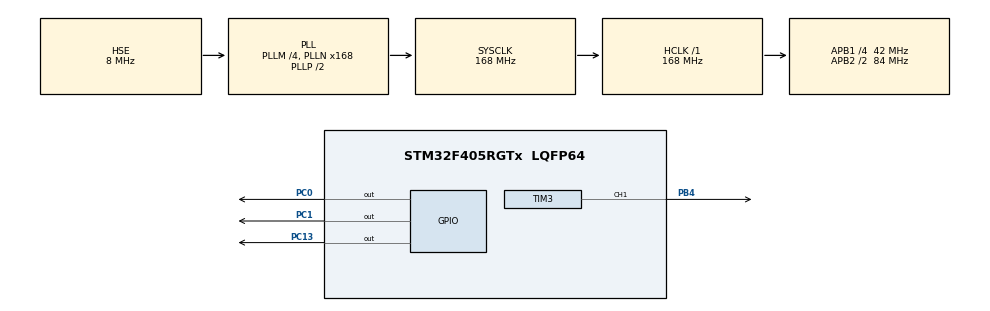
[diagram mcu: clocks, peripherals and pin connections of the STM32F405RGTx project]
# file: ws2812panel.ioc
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Dma.Request0=TIM3_CH1/TRIG
Dma.TIM3_CH1/TRIG.0.Direction=DMA_MEMORY_TO_PERIPH
Dma.TIM3_CH1/TRIG.0.FIFOMode=DMA_FIFOMODE_DISABLE
Dma.TIM3_CH1/TRIG.0.Instance=DMA1_Stream4
Dma.TIM3_CH1/TRIG.0.MemDataAlignment=DMA_MDATAALIGN_HALFWORD
Dma.TIM3_CH1/TRIG.0.MemInc=DMA_MINC_ENABLE
Dma.TIM3_CH1/TRIG.0.Mode=DMA_CIRCULAR
Dma.TIM3_CH1/TRIG.0.PeriphDataAlignment=DMA_PDATAALIGN_HALFWORD
Dma.TIM3_CH1/TRIG.0.PeriphInc=DMA_PINC_DISABLE
Dma.TIM3_CH1/TRIG.0.Priority=DMA_PRIORITY_LOW
Mcu.Family=STM32F4
Mcu.Name=STM32F405RGTx
Mcu.Package=LQFP64
Mcu.UserConstants=T3_CNT,104;T3_PRE,0;T4_PRE,8399;T4_CNT,99
NVIC.DMA1_Stream4_IRQn=true\:0\:0\:false\:false\:true\:false\:true
NVIC.PriorityGroup=NVIC_PRIORITYGROUP_4
NVIC.TIM4_IRQn=true\:1\:0\:true\:false\:true\:true\:true
PA13.Mode=Serial_Wire
PA13.Signal=SYS_JTMS-SWDIO
PA14.Mode=Serial_Wire
PA14.Signal=SYS_JTCK-SWCLK
PB4.GPIO_Speed=GPIO_SPEED_FREQ_VERY_HIGH
PB4.Signal=S_TIM3_CH1
PC0.Signal=GPIO_Output
PC1.Signal=GPIO_Output
PC13-ANTI_TAMP.PinState=GPIO_PIN_SET
PC13-ANTI_TAMP.Signal=GPIO_Output
PH0-OSC_IN.Mode=HSE-External-Oscillator
PH0-OSC_IN.Signal=RCC_OSC_IN
PH1-OSC_OUT.Mode=HSE-External-Oscillator
PH1-OSC_OUT.Signal=RCC_OSC_OUT
ProjectManager.HeapSize=0x200
ProjectManager.StackSize=0x400
ProjectManager.TargetToolchain=STM32CubeIDE
RCC.48MHZClocksFreq_Value=84000000
RCC.AHBFreq_Value=168000000
RCC.APB1CLKDivider=RCC_HCLK_DIV4
RCC.APB1Freq_Value=42000000
RCC.APB1TimFreq_Value=84000000
RCC.APB2CLKDivider=RCC_HCLK_DIV2
RCC.APB2Freq_Value=84000000
RCC.APB2TimFreq_Value=168000000
RCC.CortexFreq_Value=168000000
RCC.HCLKFreq_Value=168000000
RCC.HSE_VALUE=8000000
RCC.HSI_VALUE=16000000
RCC.LSE_VALUE=32768
RCC.PLLM=4
RCC.PLLN=168
RCC.PLLSourceVirtual=RCC_PLLSOURCE_HSE
RCC.SYSCLKFreq_VALUE=168000000
RCC.SYSCLKSource=RCC_SYSCLKSOURCE_PLLCLK
RCC.VCOOutputFreq_Value=336000000
SH.S_TIM3_CH1.0=TIM3_CH1,PWM Generation1 CH1
STMicroelectronics.X-CUBE-ALGOBUILD.1.1.0.LibraryCcDSPOoLibraryJjDSPOoLibrary=true
TIM3.AutoReloadPreload=TIM_AUTORELOAD_PRELOAD_ENABLE
TIM3.Channel-PWM\ Generation1\ CH1=TIM_CHANNEL_1
TIM3.OCFastMode_PWM-PWM\ Generation1\ CH1=TIM_OCFAST_ENABLE
TIM3.Period=T3_CNT
TIM3.Prescaler=T3_PRE
TIM3.TIM_MasterOutputTrigger=TIM_TRGO_UPDATE
TIM4.AutoReloadPreload=TIM_AUTORELOAD_PRELOAD_ENABLE
TIM4.Period=T4_CNT
TIM4.Prescaler=T4_PRE
TIM4.TIM_MasterOutputTrigger=TIM_TRGO_UPDATE
VP_STMicroelectronics.X-CUBE-ALGOBUILD_VS_DSPOoLibraryJjLibrary_1.1.0.Mode=DSPOoLibraryJjLibrary
VP_TIM3_VS_ClockSourceINT.Mode=Internal
VP_TIM4_VS_ClockSourceINT.Mode=Internal
board=custom

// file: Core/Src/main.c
/* USER CODE BEGIN Header */
/**
 ******************************************************************************
 * @file           : main.c
 * @brief          : Main program body
 ******************************************************************************
 * @attention
 *
 * <h2><center>&copy; Copyright (c) 2020 Lars Boegild THomsen <lbthomsen@gmail.com>.
 * All rights reserved.</center></h2>
 *
 * This software component is licensed by ST under BSD 3-Clause license,
 * the "License"; You may not use this file except in compliance with the
 * License. You may obtain a copy of the License at:
 *                        opensource.org/licenses/BSD-3-Clause
 *
 ******************************************************************************
 */
/* USER CODE END Header */
#include "main.h"

/* USER CODE BEGIN Includes */
#include <math.h>
#include <arm_math.h>

/* USER CODE END Includes */

/* USER CODE BEGIN PD */

// Configure the timer values
#define T3_PRE 0    // Timer 3 preload
#define T3_CNT 104  // Timer 3 counter - 104 result in 800 kHz PWM
#define T4_PRE 8399 // Timer 4 preload
#define T4_CNT 99   // Timer 4 counter - result in 100 interrupts per second

#define M_PI2 2 * M_PI   // Full circle
#define SAMPLE_FREQ 100  // Frequency of Timer 4

// Buffer allocated will be twice this
#define BUFFER_SIZE 24

// LED on/off counts.  PWM timer is running 104 counts.
//#define LED_PERIOD T3_CNT + 1
#define LED_OFF 33
#define LED_ON 71
#define LED_RESET_CYCLES 10

// Define LED driver state machine states
#define LED_RES 0
#define LED_DAT 1

#define LED_ROWS 8
#define LED_COLS 8
#define G 0
#define R 1
#define B 2

/* USER CODE END PD */

TIM_HandleTypeDef htim3;
TIM_HandleTypeDef htim4;
DMA_HandleTypeDef hdma_tim3_ch1_trig;

/* USER CODE BEGIN PV */

// Bunch of zeros used to latch the ws2812
//const uint16_t zeros[24] = {0}; // Used to trigger latching

// Look up table for led color bit patterns.  "Waste" 4k of flash but is a
// lot faster (not measured accurately but I'd say about double).
const uint16_t color_value[256][8] = {
		{LED_OFF, LED_OFF, LED_OFF, LED_OFF, LED_OFF, LED_OFF, LED_OFF, LED_OFF},
		{LED_OFF, LED_OFF, LED_OFF, LED_OFF, LED_OFF, LED_OFF, LED_OFF, LED_ON},
		{LED_OFF, LED_OFF, LED_OFF, LED_OFF, LED_OFF, LED_OFF, LED_ON, LED_OFF},
		{LED_OFF, LED_OFF, LED_OFF, LED_OFF, LED_OFF, LED_OFF, LED_ON, LED_ON},
		{LED_OFF, LED_OFF, LED_OFF, LED_OFF, LED_OFF, LED_ON, LED_OFF, LED_OFF},
		{LED_OFF, LED_OFF, LED_OFF, LED_OFF, LED_OFF, LED_ON, LED_OFF, LED_ON},
		{LED_OFF, LED_OFF, LED_OFF, LED_OFF, LED_OFF, LED_ON, LED_ON, LED_OFF},
		{LED_OFF, LED_OFF, LED_OFF, LED_OFF, LED_OFF, LED_ON, LED_ON, LED_ON},
		{LED_OFF, LED_OFF, LED_OFF, LED_OFF, LED_ON, LED_OFF, LED_OFF, LED_OFF},
		{LED_OFF, LED_OFF, LED_OFF, LED_OFF, LED_ON, LED_OFF, LED_OFF, LED_ON},
		{LED_OFF, LED_OFF, LED_OFF, LED_OFF, LED_ON, LED_OFF, LED_ON, LED_OFF},
		{LED_OFF, LED_OFF, LED_OFF, LED_OFF, LED_ON, LED_OFF, LED_ON, LED_ON},
		{LED_OFF, LED_OFF, LED_OFF, LED_OFF, LED_ON, LED_ON, LED_OFF, LED_OFF},
		{LED_OFF, LED_OFF, LED_OFF, LED_OFF, LED_ON, LED_ON, LED_OFF, LED_ON},
		{LED_OFF, LED_OFF, LED_OFF, LED_OFF, LED_ON, LED_ON, LED_ON, LED_OFF},
		{LED_OFF, LED_OFF, LED_OFF, LED_OFF, LED_ON, LED_ON, LED_ON, LED_ON},
		{LED_OFF, LED_OFF, LED_OFF, LED_ON, LED_OFF, LED_OFF, LED_OFF, LED_OFF},
		{LED_OFF, LED_OFF, LED_OFF, LED_ON, LED_OFF, LED_OFF, LED_OFF, LED_ON},
		{LED_OFF, LED_OFF, LED_OFF, LED_ON, LED_OFF, LED_OFF, LED_ON, LED_OFF},
		{LED_OFF, LED_OFF, LED_OFF, LED_ON, LED_OFF, LED_OFF, LED_ON, LED_ON},
		{LED_OFF, LED_OFF, LED_OFF, LED_ON, LED_OFF, LED_ON, LED_OFF, LED_OFF},
		{LED_OFF, LED_OFF, LED_OFF, LED_ON, LED_OFF, LED_ON, LED_OFF, LED_ON},
		{LED_OFF, LED_OFF, LED_OFF, LED_ON, LED_OFF, LED_ON, LED_ON, LED_OFF},
		{LED_OFF, LED_OFF, LED_OFF, LED_ON, LED_OFF, LED_ON, LED_ON, LED_ON},
		{LED_OFF, LED_OFF, LED_OFF, LED_ON, LED_ON, LED_OFF, LED_OFF, LED_OFF},
		{LED_OFF, LED_OFF, LED_OFF, LED_ON, LED_ON, LED_OFF, LED_OFF, LED_ON},
		{LED_OFF, LED_OFF, LED_OFF, LED_ON, LED_ON, LED_OFF, LED_ON, LED_OFF},
		{LED_OFF, LED_OFF, LED_OFF, LED_ON, LED_ON, LED_OFF, LED_ON, LED_ON},
		{LED_OFF, LED_OFF, LED_OFF, LED_ON, LED_ON, LED_ON, LED_OFF, LED_OFF},
		{LED_OFF, LED_OFF, LED_OFF, LED_ON, LED_ON, LED_ON, LED_OFF, LED_ON},
		{LED_OFF, LED_OFF, LED_OFF, LED_ON, LED_ON, LED_ON, LED_ON, LED_OFF},
		{LED_OFF, LED_OFF, LED_OFF, LED_ON, LED_ON, LED_ON, LED_ON, LED_ON},
		{LED_OFF, LED_OFF, LED_ON, LED_OFF, LED_OFF, LED_OFF, LED_OFF, LED_OFF},
		{LED_OFF, LED_OFF, LED_ON, LED_OFF, LED_OFF, LED_OFF, LED_OFF, LED_ON},
		{LED_OFF, LED_OFF, LED_ON, LED_OFF, LED_OFF, LED_OFF, LED_ON, LED_OFF},
		{LED_OFF, LED_OFF, LED_ON, LED_OFF, LED_OFF, LED_OFF, LED_ON, LED_ON},
		{LED_OFF, LED_OFF, LED_ON, LED_OFF, LED_OFF, LED_ON, LED_OFF, LED_OFF},
		{LED_OFF, LED_OFF, LED_ON, LED_OFF, LED_OFF, LED_ON, LED_OFF, LED_ON},
		{LED_OFF, LED_OFF, LED_ON, LED_OFF, LED_OFF, LED_ON, LED_ON, LED_OFF},
		{LED_OFF, LED_OFF, LED_ON, LED_OFF, LED_OFF, LED_ON, LED_ON, LED_ON},
		{LED_OFF, LED_OFF, LED_ON, LED_OFF, LED_ON, LED_OFF, LED_OFF, LED_OFF},
		{LED_OFF, LED_OFF, LED_ON, LED_OFF, LED_ON, LED_OFF, LED_OFF, LED_ON},
		{LED_OFF, LED_OFF, LED_ON, LED_OFF, LED_ON, LED_OFF, LED_ON, LED_OFF},
		{LED_OFF, LED_OFF, LED_ON, LED_OFF, LED_ON, LED_OFF, LED_ON, LED_ON},
		{LED_OFF, LED_OFF, LED_ON, LED_OFF, LED_ON, LED_ON, LED_OFF, LED_OFF},
		{LED_OFF, LED_OFF, LED_ON, LED_OFF, LED_ON, LED_ON, LED_OFF, LED_ON},
		{LED_OFF, LED_OFF, LED_ON, LED_OFF, LED_ON, LED_ON, LED_ON, LED_OFF},
		{LED_OFF, LED_OFF, LED_ON, LED_OFF, LED_ON, LED_ON, LED_ON, LED_ON},
		{LED_OFF, LED_OFF, LED_ON, LED_ON, LED_OFF, LED_OFF, LED_OFF, LED_OFF},
		{LED_OFF, LED_OFF, LED_ON, LED_ON, LED_OFF, LED_OFF, LED_OFF, LED_ON},
		{LED_OFF, LED_OFF, LED_ON, LED_ON, LED_OFF, LED_OFF, LED_ON, LED_OFF},
		{LED_OFF, LED_OFF, LED_ON, LED_ON, LED_OFF, LED_OFF, LED_ON, LED_ON},
		{LED_OFF, LED_OFF, LED_ON, LED_ON, LED_OFF, LED_ON, LED_OFF, LED_OFF},
		{LED_OFF, LED_OFF, LED_ON, LED_ON, LED_OFF, LED_ON, LED_OFF, LED_ON},
		{LED_OFF, LED_OFF, LED_ON, LED_ON, LED_OFF, LED_ON, LED_ON, LED_OFF},
		{LED_OFF, LED_OFF, LED_ON, LED_ON, LED_OFF, LED_ON, LED_ON, LED_ON},
		{LED_OFF, LED_OFF, LED_ON, LED_ON, LED_ON, LED_OFF, LED_OFF, LED_OFF},
		{LED_OFF, LED_OFF, LED_ON, LED_ON, LED_ON, LED_OFF, LED_OFF, LED_ON},
		{LED_OFF, LED_OFF, LED_ON, LED_ON, LED_ON, LED_OFF, LED_ON, LED_OFF},
		{LED_OFF, LED_OFF, LED_ON, LED_ON, LED_ON, LED_OFF, LED_ON, LED_ON},
		{LED_OFF, LED_OFF, LED_ON, LED_ON, LED_ON, LED_ON, LED_OFF, LED_OFF},
		{LED_OFF, LED_OFF, LED_ON, LED_ON, LED_ON, LED_ON, LED_OFF, LED_ON},
		{LED_OFF, LED_OFF, LED_ON, LED_ON, LED_ON, LED_ON, LED_ON, LED_OFF},
		{LED_OFF, LED_OFF, LED_ON, LED_ON, LED_ON, LED_ON, LED_ON, LED_ON},
		{LED_OFF, LED_ON, LED_OFF, LED_OFF, LED_OFF, LED_OFF, LED_OFF, LED_OFF},
		{LED_OFF, LED_ON, LED_OFF, LED_OFF, LED_OFF, LED_OFF, LED_OFF, LED_ON},
		{LED_OFF, LED_ON, LED_OFF, LED_OFF, LED_OFF, LED_OFF, LED_ON, LED_OFF},
		{LED_OFF, LED_ON, LED_OFF, LED_OFF, LED_OFF, LED_OFF, LED_ON, LED_ON},
		{LED_OFF, LED_ON, LED_OFF, LED_OFF, LED_OFF, LED_ON, LED_OFF, LED_OFF},
		{LED_OFF, LED_ON, LED_OFF, LED_OFF, LED_OFF, LED_ON, LED_OFF, LED_ON},
		{LED_OFF, LED_ON, LED_OFF, LED_OFF, LED_OFF, LED_ON, LED_ON, LED_OFF},
		{LED_OFF, LED_ON, LED_OFF, LED_OFF, LED_OFF, LED_ON, LED_ON, LED_ON},
		{LED_OFF, LED_ON, LED_OFF, LED_OFF, LED_ON, LED_OFF, LED_OFF, LED_OFF},
		{LED_OFF, LED_ON, LED_OFF, LED_OFF, LED_ON, LED_OFF, LED_OFF, LED_ON},
		{LED_OFF, LED_ON, LED_OFF, LED_OFF, LED_ON, LED_OFF, LED_ON, LED_OFF},
		{LED_OFF, LED_ON, LED_OFF, LED_OFF, LED_ON, LED_OFF, LED_ON, LED_ON},
		{LED_OFF, LED_ON, LED_OFF, LED_OFF, LED_ON, LED_ON, LED_OFF, LED_OFF},
		{LED_OFF, LED_ON, LED_OFF, LED_OFF, LED_ON, LED_ON, LED_OFF, LED_ON},
		{LED_OFF, LED_ON, LED_OFF, LED_OFF, LED_ON, LED_ON, LED_ON, LED_OFF},
		{LED_OFF, LED_ON, LED_OFF, LED_OFF, LED_ON, LED_ON, LED_ON, LED_ON},
		{LED_OFF, LED_ON, LED_OFF, LED_ON, LED_OFF, LED_OFF, LED_OFF, LED_OFF},
		{LED_OFF, LED_ON, LED_OFF, LED_ON, LED_OFF, LED_OFF, LED_OFF, LED_ON},
		{LED_OFF, LED_ON, LED_OFF, LED_ON, LED_OFF, LED_OFF, LED_ON, LED_OFF},
		{LED_OFF, LED_ON, LED_OFF, LED_ON, LED_OFF, LED_OFF, LED_ON, LED_ON},
		{LED_OFF, LED_ON, LED_OFF, LED_ON, LED_OFF, LED_ON, LED_OFF, LED_OFF},
		{LED_OFF, LED_ON, LED_OFF, LED_ON, LED_OFF, LED_ON, LED_OFF, LED_ON},
		{LED_OFF, LED_ON, LED_OFF, LED_ON, LED_OFF, LED_ON, LED_ON, LED_OFF},
		{LED_OFF, LED_ON, LED_OFF, LED_ON, LED_OFF, LED_ON, LED_ON, LED_ON},
		{LED_OFF, LED_ON, LED_OFF, LED_ON, LED_ON, LED_OFF, LED_OFF, LED_OFF},
		{LED_OFF, LED_ON, LED_OFF, LED_ON, LED_ON, LED_OFF, LED_OFF, LED_ON},
		{LED_OFF, LED_ON, LED_OFF, LED_ON, LED_ON, LED_OFF, LED_ON, LED_OFF},
		{LED_OFF, LED_ON, LED_OFF, LED_ON, LED_ON, LED_OFF, LED_ON, LED_ON},
		{LED_OFF, LED_ON, LED_OFF, LED_ON, LED_ON, LED_ON, LED_OFF, LED_OFF},
		{LED_OFF, LED_ON, LED_OFF, LED_ON, LED_ON, LED_ON, LED_OFF, LED_ON},
		{LED_OFF, LED_ON, LED_OFF, LED_ON, LED_ON, LED_ON, LED_ON, LED_OFF},
		{LED_OFF, LED_ON, LED_OFF, LED_ON, LED_ON, LED_ON, LED_ON, LED_ON},
		{LED_OFF, LED_ON, LED_ON, LED_OFF, LED_OFF, LED_OFF, LED_OFF, LED_OFF},
		{LED_OFF, LED_ON, LED_ON, LED_OFF, LED_OFF, LED_OFF, LED_OFF, LED_ON},
		{LED_OFF, LED_ON, LED_ON, LED_OFF, LED_OFF, LED_OFF, LED_ON, LED_OFF},
		{LED_OFF, LED_ON, LED_ON, LED_OFF, LED_OFF, LED_OFF, LED_ON, LED_ON},
		{LED_OFF, LED_ON, LED_ON, LED_OFF, LED_OFF, LED_ON, LED_OFF, LED_OFF},
		{LED_OFF, LED_ON, LED_ON, LED_OFF, LED_OFF, LED_ON, LED_OFF, LED_ON},
		{LED_OFF, LED_ON, LED_ON, LED_OFF, LED_OFF, LED_ON, LED_ON, LED_OFF},
		{LED_OFF, LED_ON, LED_ON, LED_OFF, LED_OFF, LED_ON, LED_ON, LED_ON},
		{LED_OFF, LED_ON, LED_ON, LED_OFF, LED_ON, LED_OFF, LED_OFF, LED_OFF},
		{LED_OFF, LED_ON, LED_ON, LED_OFF, LED_ON, LED_OFF, LED_OFF, LED_ON},
		{LED_OFF, LED_ON, LED_ON, LED_OFF, LED_ON, LED_OFF, LED_ON, LED_OFF},
		{LED_OFF, LED_ON, LED_ON, LED_OFF, LED_ON, LED_OFF, LED_ON, LED_ON},
		{LED_OFF, LED_ON, LED_ON, LED_OFF, LED_ON, LED_ON, LED_OFF, LED_OFF},
		{LED_OFF, LED_ON, LED_ON, LED_OFF, LED_ON, LED_ON, LED_OFF, LED_ON},
		{LED_OFF, LED_ON, LED_ON, LED_OFF, LED_ON, LED_ON, LED_ON, LED_OFF},
		{LED_OFF, LED_ON, LED_ON, LED_OFF, LED_ON, LED_ON, LED_ON, LED_ON},
		{LED_OFF, LED_ON, LED_ON, LED_ON, LED_OFF, LED_OFF, LED_OFF, LED_OFF},
		{LED_OFF, LED_ON, LED_ON, LED_ON, LED_OFF, LED_OFF, LED_OFF, LED_ON},
		{LED_OFF, LED_ON, LED_ON, LED_ON, LED_OFF, LED_OFF, LED_ON, LED_OFF},
		{LED_OFF, LED_ON, LED_ON, LED_ON, LED_OFF, LED_OFF, LED_ON, LED_ON},
		{LED_OFF, LED_ON, LED_ON, LED_ON, LED_OFF, LED_ON, LED_OFF, LED_OFF},
		{LED_OFF, LED_ON, LED_ON, LED_ON, LED_OFF, LED_ON, LED_OFF, LED_ON},
		{LED_OFF, LED_ON, LED_ON, LED_ON, LED_OFF, LED_ON, LED_ON, LED_OFF},
		{LED_OFF, LED_ON, LED_ON, LED_ON, LED_OFF, LED_ON, LED_ON, LED_ON},
		{LED_OFF, LED_ON, LED_ON, LED_ON, LED_ON, LED_OFF, LED_OFF, LED_OFF},
		{LED_OFF, LED_ON, LED_ON, LED_ON, LED_ON, LED_OFF, LED_OFF, LED_ON},
		{LED_OFF, LED_ON, LED_ON, LED_ON, LED_ON, LED_OFF, LED_ON, LED_OFF},
		{LED_OFF, LED_ON, LED_ON, LED_ON, LED_ON, LED_OFF, LED_ON, LED_ON},
		{LED_OFF, LED_ON, LED_ON, LED_ON, LED_ON, LED_ON, LED_OFF, LED_OFF},
		{LED_OFF, LED_ON, LED_ON, LED_ON, LED_ON, LED_ON, LED_OFF, LED_ON},
		{LED_OFF, LED_ON, LED_ON, LED_ON, LED_ON, LED_ON, LED_ON, LED_OFF},
		{LED_OFF, LED_ON, LED_ON, LED_ON, LED_ON, LED_ON, LED_ON, LED_ON},
		{LED_ON, LED_OFF, LED_OFF, LED_OFF, LED_OFF, LED_OFF, LED_OFF, LED_OFF},
		{LED_ON, LED_OFF, LED_OFF, LED_OFF, LED_OFF, LED_OFF, LED_OFF, LED_ON},
		{LED_ON, LED_OFF, LED_OFF, LED_OFF, LED_OFF, LED_OFF, LED_ON, LED_OFF},
		{LED_ON, LED_OFF, LED_OFF, LED_OFF, LED_OFF, LED_OFF, LED_ON, LED_ON},
		{LED_ON, LED_OFF, LED_OFF, LED_OFF, LED_OFF, LED_ON, LED_OFF, LED_OFF},
		{LED_ON, LED_OFF, LED_OFF, LED_OFF, LED_OFF, LED_ON, LED_OFF, LED_ON},
		{LED_ON, LED_OFF, LED_OFF, LED_OFF, LED_OFF, LED_ON, LED_ON, LED_OFF},
		{LED_ON, LED_OFF, LED_OFF, LED_OFF, LED_OFF, LED_ON, LED_ON, LED_ON},
		{LED_ON, LED_OFF, LED_OFF, LED_OFF, LED_ON, LED_OFF, LED_OFF, LED_OFF},
		{LED_ON, LED_OFF, LED_OFF, LED_OFF, LED_ON, LED_OFF, LED_OFF, LED_ON},
		{LED_ON, LED_OFF, LED_OFF, LED_OFF, LED_ON, LED_OFF, LED_ON, LED_OFF},
		{LED_ON, LED_OFF, LED_OFF, LED_OFF, LED_ON, LED_OFF, LED_ON, LED_ON},
		{LED_ON, LED_OFF, LED_OFF, LED_OFF, LED_ON, LED_ON, LED_OFF, LED_OFF},
		{LED_ON, LED_OFF, LED_OFF, LED_OFF, LED_ON, LED_ON, LED_OFF, LED_ON},
		{LED_ON, LED_OFF, LED_OFF, LED_OFF, LED_ON, LED_ON, LED_ON, LED_OFF},
		{LED_ON, LED_OFF, LED_OFF, LED_OFF, LED_ON, LED_ON, LED_ON, LED_ON},
		{LED_ON, LED_OFF, LED_OFF, LED_ON, LED_OFF, LED_OFF, LED_OFF, LED_OFF},
		{LED_ON, LED_OFF, LED_OFF, LED_ON, LED_OFF, LED_OFF, LED_OFF, LED_ON},
		{LED_ON, LED_OFF, LED_OFF, LED_ON, LED_OFF, LED_OFF, LED_ON, LED_OFF},
		{LED_ON, LED_OFF, LED_OFF, LED_ON, LED_OFF, LED_OFF, LED_ON, LED_ON},
		{LED_ON, LED_OFF, LED_OFF, LED_ON, LED_OFF, LED_ON, LED_OFF, LED_OFF},
		{LED_ON, LED_OFF, LED_OFF, LED_ON, LED_OFF, LED_ON, LED_OFF, LED_ON},
		{LED_ON, LED_OFF, LED_OFF, LED_ON, LED_OFF, LED_ON, LED_ON, LED_OFF},
		{LED_ON, LED_OFF, LED_OFF, LED_ON, LED_OFF, LED_ON, LED_ON, LED_ON},
		{LED_ON, LED_OFF, LED_OFF, LED_ON, LED_ON, LED_OFF, LED_OFF, LED_OFF},
		{LED_ON, LED_OFF, LED_OFF, LED_ON, LED_ON, LED_OFF, LED_OFF, LED_ON},
		{LED_ON, LED_OFF, LED_OFF, LED_ON, LED_ON, LED_OFF, LED_ON, LED_OFF},
		{LED_ON, LED_OFF, LED_OFF, LED_ON, LED_ON, LED_OFF, LED_ON, LED_ON},
		{LED_ON, LED_OFF, LED_OFF, LED_ON, LED_ON, LED_ON, LED_OFF, LED_OFF},
		{LED_ON, LED_OFF, LED_OFF, LED_ON, LED_ON, LED_ON, LED_OFF, LED_ON},
		{LED_ON, LED_OFF, LED_OFF, LED_ON, LED_ON, LED_ON, LED_ON, LED_OFF},
		{LED_ON, LED_OFF, LED_OFF, LED_ON, LED_ON, LED_ON, LED_ON, LED_ON},
		{LED_ON, LED_OFF, LED_ON, LED_OFF, LED_OFF, LED_OFF, LED_OFF, LED_OFF},
		{LED_ON, LED_OFF, LED_ON, LED_OFF, LED_OFF, LED_OFF, LED_OFF, LED_ON},
		{LED_ON, LED_OFF, LED_ON, LED_OFF, LED_OFF, LED_OFF, LED_ON, LED_OFF},
		{LED_ON, LED_OFF, LED_ON, LED_OFF, LED_OFF, LED_OFF, LED_ON, LED_ON},
		{LED_ON, LED_OFF, LED_ON, LED_OFF, LED_OFF, LED_ON, LED_OFF, LED_OFF},
		{LED_ON, LED_OFF, LED_ON, LED_OFF, LED_OFF, LED_ON, LED_OFF, LED_ON},
		{LED_ON, LED_OFF, LED_ON, LED_OFF, LED_OFF, LED_ON, LED_ON, LED_OFF},
		{LED_ON, LED_OFF, LED_ON, LED_OFF, LED_OFF, LED_ON, LED_ON, LED_ON},
		{LED_ON, LED_OFF, LED_ON, LED_OFF, LED_ON, LED_OFF, LED_OFF, LED_OFF},
		{LED_ON, LED_OFF, LED_ON, LED_OFF, LED_ON, LED_OFF, LED_OFF, LED_ON},
		{LED_ON, LED_OFF, LED_ON, LED_OFF, LED_ON, LED_OFF, LED_ON, LED_OFF},
		{LED_ON, LED_OFF, LED_ON, LED_OFF, LED_ON, LED_OFF, LED_ON, LED_ON},
		{LED_ON, LED_OFF, LED_ON, LED_OFF, LED_ON, LED_ON, LED_OFF, LED_OFF},
		{LED_ON, LED_OFF, LED_ON, LED_OFF, LED_ON, LED_ON, LED_OFF, LED_ON},
		{LED_ON, LED_OFF, LED_ON, LED_OFF, LED_ON, LED_ON, LED_ON, LED_OFF},
		{LED_ON, LED_OFF, LED_ON, LED_OFF, LED_ON, LED_ON, LED_ON, LED_ON},
		{LED_ON, LED_OFF, LED_ON, LED_ON, LED_OFF, LED_OFF, LED_OFF, LED_OFF},
		{LED_ON, LED_OFF, LED_ON, LED_ON, LED_OFF, LED_OFF, LED_OFF, LED_ON},
		{LED_ON, LED_OFF, LED_ON, LED_ON, LED_OFF, LED_OFF, LED_ON, LED_OFF},
		{LED_ON, LED_OFF, LED_ON, LED_ON, LED_OFF, LED_OFF, LED_ON, LED_ON},
		{LED_ON, LED_OFF, LED_ON, LED_ON, LED_OFF, LED_ON, LED_OFF, LED_OFF},
		{LED_ON, LED_OFF, LED_ON, LED_ON, LED_OFF, LED_ON, LED_OFF, LED_ON},
		{LED_ON, LED_OFF, LED_ON, LED_ON, LED_OFF, LED_ON, LED_ON, LED_OFF},
		{LED_ON, LED_OFF, LED_ON, LED_ON, LED_OFF, LED_ON, LED_ON, LED_ON},
		{LED_ON, LED_OFF, LED_ON, LED_ON, LED_ON, LED_OFF, LED_OFF, LED_OFF},
		{LED_ON, LED_OFF, LED_ON, LED_ON, LED_ON, LED_OFF, LED_OFF, LED_ON},
		{LED_ON, LED_OFF, LED_ON, LED_ON, LED_ON, LED_OFF, LED_ON, LED_OFF},
		{LED_ON, LED_OFF, LED_ON, LED_ON, LED_ON, LED_OFF, LED_ON, LED_ON},
		{LED_ON, LED_OFF, LED_ON, LED_ON, LED_ON, LED_ON, LED_OFF, LED_OFF},
		{LED_ON, LED_OFF, LED_ON, LED_ON, LED_ON, LED_ON, LED_OFF, LED_ON},
		{LED_ON, LED_OFF, LED_ON, LED_ON, LED_ON, LED_ON, LED_ON, LED_OFF},
		{LED_ON, LED_OFF, LED_ON, LED_ON, LED_ON, LED_ON, LED_ON, LED_ON},
		{LED_ON, LED_ON, LED_OFF, LED_OFF, LED_OFF, LED_OFF, LED_OFF, LED_OFF},
		{LED_ON, LED_ON, LED_OFF, LED_OFF, LED_OFF, LED_OFF, LED_OFF, LED_ON},
		{LED_ON, LED_ON, LED_OFF, LED_OFF, LED_OFF, LED_OFF, LED_ON, LED_OFF},
		{LED_ON, LED_ON, LED_OFF, LED_OFF, LED_OFF, LED_OFF, LED_ON, LED_ON},
		{LED_ON, LED_ON, LED_OFF, LED_OFF, LED_OFF, LED_ON, LED_OFF, LED_OFF},
		{LED_ON, LED_ON, LED_OFF, LED_OFF, LED_OFF, LED_ON, LED_OFF, LED_ON},
		{LED_ON, LED_ON, LED_OFF, LED_OFF, LED_OFF, LED_ON, LED_ON, LED_OFF},
		{LED_ON, LED_ON, LED_OFF, LED_OFF, LED_OFF, LED_ON, LED_ON, LED_ON},
		{LED_ON, LED_ON, LED_OFF, LED_OFF, LED_ON, LED_OFF, LED_OFF, LED_OFF},
		{LED_ON, LED_ON, LED_OFF, LED_OFF, LED_ON, LED_OFF, LED_OFF, LED_ON},
		{LED_ON, LED_ON, LED_OFF, LED_OFF, LED_ON, LED_OFF, LED_ON, LED_OFF},
		{LED_ON, LED_ON, LED_OFF, LED_OFF, LED_ON, LED_OFF, LED_ON, LED_ON},
		{LED_ON, LED_ON, LED_OFF, LED_OFF, LED_ON, LED_ON, LED_OFF, LED_OFF},
		{LED_ON, LED_ON, LED_OFF, LED_OFF, LED_ON, LED_ON, LED_OFF, LED_ON},
		{LED_ON, LED_ON, LED_OFF, LED_OFF, LED_ON, LED_ON, LED_ON, LED_OFF},
		{LED_ON, LED_ON, LED_OFF, LED_OFF, LED_ON, LED_ON, LED_ON, LED_ON},
		{LED_ON, LED_ON, LED_OFF, LED_ON, LED_OFF, LED_OFF, LED_OFF, LED_OFF},
		{LED_ON, LED_ON, LED_OFF, LED_ON, LED_OFF, LED_OFF, LED_OFF, LED_ON},
		{LED_ON, LED_ON, LED_OFF, LED_ON, LED_OFF, LED_OFF, LED_ON, LED_OFF},
		{LED_ON, LED_ON, LED_OFF, LED_ON, LED_OFF, LED_OFF, LED_ON, LED_ON},
		{LED_ON, LED_ON, LED_OFF, LED_ON, LED_OFF, LED_ON, LED_OFF, LED_OFF},
		{LED_ON, LED_ON, LED_OFF, LED_ON, LED_OFF, LED_ON, LED_OFF, LED_ON},
		{LED_ON, LED_ON, LED_OFF, LED_ON, LED_OFF, LED_ON, LED_ON, LED_OFF},
		{LED_ON, LED_ON, LED_OFF, LED_ON, LED_OFF, LED_ON, LED_ON, LED_ON},
		{LED_ON, LED_ON, LED_OFF, LED_ON, LED_ON, LED_OFF, LED_OFF, LED_OFF},
		{LED_ON, LED_ON, LED_OFF, LED_ON, LED_ON, LED_OFF, LED_OFF, LED_ON},
		{LED_ON, LED_ON, LED_OFF, LED_ON, LED_ON, LED_OFF, LED_ON, LED_OFF},
		{LED_ON, LED_ON, LED_OFF, LED_ON, LED_ON, LED_OFF, LED_ON, LED_ON},
		{LED_ON, LED_ON, LED_OFF, LED_ON, LED_ON, LED_ON, LED_OFF, LED_OFF},
		{LED_ON, LED_ON, LED_OFF, LED_ON, LED_ON, LED_ON, LED_OFF, LED_ON},
		{LED_ON, LED_ON, LED_OFF, LED_ON, LED_ON, LED_ON, LED_ON, LED_OFF},
		{LED_ON, LED_ON, LED_OFF, LED_ON, LED_ON, LED_ON, LED_ON, LED_ON},
		{LED_ON, LED_ON, LED_ON, LED_OFF, LED_OFF, LED_OFF, LED_OFF, LED_OFF},
		{LED_ON, LED_ON, LED_ON, LED_OFF, LED_OFF, LED_OFF, LED_OFF, LED_ON},
		{LED_ON, LED_ON, LED_ON, LED_OFF, LED_OFF, LED_OFF, LED_ON, LED_OFF},
		{LED_ON, LED_ON, LED_ON, LED_OFF, LED_OFF, LED_OFF, LED_ON, LED_ON},
		{LED_ON, LED_ON, LED_ON, LED_OFF, LED_OFF, LED_ON, LED_OFF, LED_OFF},
		{LED_ON, LED_ON, LED_ON, LED_OFF, LED_OFF, LED_ON, LED_OFF, LED_ON},
		{LED_ON, LED_ON, LED_ON, LED_OFF, LED_OFF, LED_ON, LED_ON, LED_OFF},
		{LED_ON, LED_ON, LED_ON, LED_OFF, LED_OFF, LED_ON, LED_ON, LED_ON},
		{LED_ON, LED_ON, LED_ON, LED_OFF, LED_ON, LED_OFF, LED_OFF, LED_OFF},
		{LED_ON, LED_ON, LED_ON, LED_OFF, LED_ON, LED_OFF, LED_OFF, LED_ON},
		{LED_ON, LED_ON, LED_ON, LED_OFF, LED_ON, LED_OFF, LED_ON, LED_OFF},
		{LED_ON, LED_ON, LED_ON, LED_OFF, LED_ON, LED_OFF, LED_ON, LED_ON},
		{LED_ON, LED_ON, LED_ON, LED_OFF, LED_ON, LED_ON, LED_OFF, LED_OFF},
		{LED_ON, LED_ON, LED_ON, LED_OFF, LED_ON, LED_ON, LED_OFF, LED_ON},
		{LED_ON, LED_ON, LED_ON, LED_OFF, LED_ON, LED_ON, LED_ON, LED_OFF},
		{LED_ON, LED_ON, LED_ON, LED_OFF, LED_ON, LED_ON, LED_ON, LED_ON},
		{LED_ON, LED_ON, LED_ON, LED_ON, LED_OFF, LED_OFF, LED_OFF, LED_OFF},
		{LED_ON, LED_ON, LED_ON, LED_ON, LED_OFF, LED_OFF, LED_OFF, LED_ON},
		{LED_ON, LED_ON, LED_ON, LED_ON, LED_OFF, LED_OFF, LED_ON, LED_OFF},
		{LED_ON, LED_ON, LED_ON, LED_ON, LED_OFF, LED_OFF, LED_ON, LED_ON},
		{LED_ON, LED_ON, LED_ON, LED_ON, LED_OFF, LED_ON, LED_OFF, LED_OFF},
		{LED_ON, LED_ON, LED_ON, LED_ON, LED_OFF, LED_ON, LED_OFF, LED_ON},
		{LED_ON, LED_ON, LED_ON, LED_ON, LED_OFF, LED_ON, LED_ON, LED_OFF},
		{LED_ON, LED_ON, LED_ON, LED_ON, LED_OFF, LED_ON, LED_ON, LED_ON},
		{LED_ON, LED_ON, LED_ON, LED_ON, LED_ON, LED_OFF, LED_OFF, LED_OFF},
		{LED_ON, LED_ON, LED_ON, LED_ON, LED_ON, LED_OFF, LED_OFF, LED_ON},
		{LED_ON, LED_ON, LED_ON, LED_ON, LED_ON, LED_OFF, LED_ON, LED_OFF},
		{LED_ON, LED_ON, LED_ON, LED_ON, LED_ON, LED_OFF, LED_ON, LED_ON},
		{LED_ON, LED_ON, LED_ON, LED_ON, LED_ON, LED_ON, LED_OFF, LED_OFF},
		{LED_ON, LED_ON, LED_ON, LED_ON, LED_ON, LED_ON, LED_OFF, LED_ON},
		{LED_ON, LED_ON, LED_ON, LED_ON, LED_ON, LED_ON, LED_ON, LED_OFF},
		{LED_ON, LED_ON, LED_ON, LED_ON, LED_ON, LED_ON, LED_ON, LED_ON}
};

// The actual DMA buffer - contains two halves each container 24 byte
uint16_t dma_buffer[BUFFER_SIZE * 2] = { 0 };

// Pointer to above buffer.  This will be set to the start of the half way point
uint16_t *dma_buffer_pointer;

// Base for calculating RGB values
float led_angle[LED_ROWS][LED_COLS][3] = { 0 };
float led_velocity[LED_ROWS][LED_COLS][3] = { 0 };
uint8_t led_amplitude[LED_ROWS][LED_COLS][3] = { 0 };

// LED RGB values
uint8_t led_value[LED_ROWS][LED_COLS][3] = { 0 };

uint8_t led_state = LED_RES;
uint8_t res_cnt = 0;
uint8_t led_col = 0;
uint8_t led_row = 0;

uint32_t update_count = 0;

/* USER CODE END PV */

void SystemClock_Config(void);
static void MX_GPIO_Init(void);
static void MX_DMA_Init(void);
static void MX_TIM3_Init(void);
static void MX_TIM4_Init(void);

/* USER CODE BEGIN 0 */

/*
 * Update next 24 bits in the dma buffer - assume dma_buffer_pointer is pointing
 * to the buffer that is safe to update.
 *
 */
static inline void update_next_buffer() {

	// For debugging and measuring calculation time - toggle GPIO pin
	HAL_GPIO_WritePin(GPIOC, GPIO_PIN_0, GPIO_PIN_SET);

	// A simple state machine - we're either resetting (two buffers worth of zeros) or
	// we are transmitting data

	if (led_state == LED_RES) { // Reset state - 10 or more full buffers of zeros

		// This one is simple - we got a bunch of zeros of the right size - just throw
		// that into the buffer
		//memcpy(dma_buffer_pointer, zeros, 48);
		memset(dma_buffer_pointer, 0, 48);

		res_cnt++;

		if (res_cnt >= LED_RESET_CYCLES) { // done enough reset cycles
			led_col = 0;	// prepare to send data
			led_row = 0;
			led_state = LED_DAT;
		}

	} else { // LED state

		// First let's deal with the current LED
		uint8_t *led = led_value[led_col][led_row];
		for (uint8_t c = 0; c < 3; c++) { // This is the bitch - need to be optimized!

			// Copy values from the pre-filled color_value buffer
			memcpy(dma_buffer_pointer, color_value[led[c]], 16);
			dma_buffer_pointer += 8;

		}

		// Now move to next LED switching to reset state when all leds have been updated
		led_col++; // Next column
		if (led_col >= LED_COLS) { // reached top
			led_col = 0; // back to first
			led_row++; // and move on to next row
			if (led_row >= LED_ROWS) { // reached end

				res_cnt = 0;
				led_state = LED_RES;
			}
		}

	}

	HAL_GPIO_WritePin(GPIOC, GPIO_PIN_0, GPIO_PIN_RESET);

}

// Handle built-in blue led hanging off of C13
void HAL_TIM_PeriodElapsedCallback(TIM_HandleTypeDef *htim) {

	if (htim->Instance == TIM4) {

		// Toggle GPIO for time measurement
		HAL_GPIO_WritePin(GPIOC, GPIO_PIN_1, GPIO_PIN_SET);

		// Update all led values - this is quite heavy for 8*8*3 it takes around 30-40 ms
		for (uint8_t col = 0; col < LED_COLS; col++) {

			for (uint8_t row = 0; row < LED_ROWS; row++) {

				for (uint8_t led = 0; led < 3; ++led) {

					led_value[row][col][led] = (uint8_t)(led_amplitude[row][col][led] - arm_cos_f32(led_angle[row][col][led]) * led_amplitude[row][col][led]);

					led_angle[row][col][led] += led_velocity[row][col][led];
					if (led_angle[row][col][led] > M_PI2) led_angle[row][col][led] -= M_PI2; // Positive wrap around
					if (led_angle[row][col][led] < M_PI2) led_angle[row][col][led] += M_PI2; // Negative wrap around

				}

			}

		}

		// Reset pin
		HAL_GPIO_WritePin(GPIOC, GPIO_PIN_1, GPIO_PIN_RESET);

	}

}

// Done sending first half of the DMA buffer - this can now safely be updated
void HAL_TIM_PWM_PulseFinishedHalfCpltCallback(TIM_HandleTypeDef *htim) {

	if (htim->Instance == TIM3) {
		dma_buffer_pointer = &dma_buffer[0];
		update_next_buffer();
	}

}

// Done sending the second half of the DMA buffer - this can now be safely updated
void HAL_TIM_PWM_PulseFinishedCallback(TIM_HandleTypeDef *htim) {

	if (htim->Instance == TIM3) {
		dma_buffer_pointer = &dma_buffer[BUFFER_SIZE];
		update_next_buffer();
	}

}

// Just throw values into led_value array - the dma interrupt will
// handle updating the dma buffer when needed
void setLedValue(uint8_t col, uint8_t row, uint8_t r, uint8_t g, uint8_t b) {

	led_value[col][row][R] = r;
	led_value[col][row][G] = g;
	led_value[col][row][B] = b;

}

void setLedAngle(uint8_t col, uint8_t row, float r, float g, float b) {

	led_angle[col][row][R] = r;
	led_angle[col][row][G] = g;
	led_angle[col][row][B] = b;

}

void setLedFreq(uint8_t col, uint8_t row, float r, float g, float b) {

	led_velocity[col][row][R] = M_PI2 / (SAMPLE_FREQ / r);
	led_velocity[col][row][G] = M_PI2 / (SAMPLE_FREQ / g);
	led_velocity[col][row][B] = M_PI2 / (SAMPLE_FREQ / b);

}

void setLedAmplitude(uint8_t col, uint8_t row, uint8_t r, uint8_t g, uint8_t b) {

	led_amplitude[col][row][R] = r;
	led_amplitude[col][row][G] = g;
	led_amplitude[col][row][B] = b;

}

/* USER CODE END 0 */

int main(void)
{

  /* MCU Configuration--------------------------------------------------------*/

  /* Reset of all peripherals, Initializes the Flash interface and the Systick. */
  HAL_Init();

  /* Configure the system clock */
  SystemClock_Config();

  /* Initialize all configured peripherals */
  MX_GPIO_Init();
  MX_DMA_Init();
  MX_TIM3_Init();
  MX_TIM4_Init();
  /* USER CODE BEGIN 2 */

	HAL_TIM_Base_Start_IT(&htim4);

	// Start DMA to feed the PWM with values
	// At this point the buffer should be empty - all zeros
	HAL_TIM_PWM_Start_DMA(&htim3, TIM_CHANNEL_1, (uint32_t*) dma_buffer,
	BUFFER_SIZE * 2);

  /* USER CODE END 2 */

  /* Infinite loop */
  /* USER CODE BEGIN WHILE */

	// Outer ring

	uint8_t amp = 12;

	for (int i = 0; i < 8; i++) {

		setLedAmplitude(i, 0, amp, amp, amp);
		setLedAngle(i, 0, i * M_PI2 / 28, 0, i * M_PI2 / 28);
		setLedFreq(i, 0, -1, 0, -1);

		setLedAmplitude(7 - i, 7, amp, amp, amp);
		setLedAngle(7 - i, 7, (14 + i) * M_PI2 / 28, 0, (14 + i) * M_PI2 / 28);
		setLedFreq(7 - i, 7, -1, 0, -1);

	}

	for (int i = 1; i < 7; i++) {

		setLedAmplitude(7, i, amp, amp, amp);
		setLedAngle(7, i, (8 + i) * M_PI2 / 28, 0, (8 + i) * M_PI2 / 28);
		setLedFreq(7, i, -1, 0, -1);

		setLedAmplitude(0, 7 - i, amp, amp, amp);
		setLedAngle(0, 7 - i, (22 + i) * M_PI2 / 28, 0, (22 + i) * M_PI2 / 28);
		setLedFreq(0, 7 - i, -1, 0, -1);

	}

	// Second ring

	for (int i = 1; i < 7; i++) {

		setLedAmplitude(i, 1, amp, amp, amp);
		setLedAngle(i, 1, 0, 0, (i - 1) * M_PI2 / 20);
		setLedFreq(i, 1, 0, 0, 1);

		setLedAmplitude(7 - i, 6, amp, amp, amp);
		setLedAngle(7 - i, 6, 0, 0, (10 + i) * M_PI2 / 20);
		setLedFreq(7 - i, 6, 0, 0, 1);

	}

	for (int i = 2; i < 6; i++) {

		setLedAmplitude(6, i, amp, amp, amp);
		setLedAngle(6, i, 0, 0, (5 + i) * M_PI2 / 20);
		setLedFreq(6, i, 0, 0, 1);

		setLedAmplitude(1, 7 - i, amp, amp, amp);
		setLedAngle(1, 7 - i, 0, 0, (14 + i) * M_PI2 / 20);
		setLedFreq(1, 7 - i, 0, 0, 1);

	}

	// Third ring

	for (int i = 2; i < 6; i++) {

		setLedAmplitude(i, 2, amp, amp, amp);
		setLedAngle(i, 2, 0, (i - 2) * M_PI2 / 12, 0);
		setLedFreq(i, 2, 0, 1, 0);

		setLedAmplitude(7 - i, 5, amp, amp, amp);
		setLedAngle(7 - i, 5, 0, (4 + i) * M_PI2 / 12, 0);
		setLedFreq(7 - i, 5, 0, 1, 0);

	}

	for (int i = 3; i < 5; i++) {

		setLedAmplitude(5, i, amp, amp, amp);
		setLedAngle(5, i, 0, (1 + i) * M_PI2 / 12, 0);
		setLedFreq(5, i, 0, 1, 0);

		setLedAmplitude(2, 7 - i, amp, amp, amp);
		setLedAngle(2, 7 - i, 0, (7 + i) * M_PI2 / 12, 0);
		setLedFreq(2, 7 - i, 0, 1, 0);

	}

	// Inner four

	for (int i = 3; i < 5; i++) {

		setLedAmplitude(i, 3, amp, amp, amp);
		setLedAngle(i, 3, 0, 0, (i - 3) * M_PI2 / 4);
		setLedFreq(i, 3, 0, 0, 1);

		setLedAmplitude(7 - i, 4, amp, amp, amp);
		setLedAngle(7 - i, 4, 0, 0, (-1 + i) * M_PI2 / 4);
		setLedFreq(7 - i, 4, 0, 0, 1);

	}

	uint32_t then = 0;

	while (1) {

		uint32_t now = HAL_GetTick();
		if (now % 500 == 0 && now != then) {

			// Not really doing anything as everything is driven by timers,
			// but let's toggle a GPIO pin just for the hell of it.
			HAL_GPIO_TogglePin(GPIOC, GPIO_PIN_13);

			then = now;
		}

    /* USER CODE END WHILE */

	}
}

void SystemClock_Config(void)
{
  RCC_OscInitTypeDef RCC_OscInitStruct = {0};
  RCC_ClkInitTypeDef RCC_ClkInitStruct = {0};

  /** Configure the main internal regulator output voltage
  */
  __HAL_RCC_PWR_CLK_ENABLE();
  __HAL_PWR_VOLTAGESCALING_CONFIG(PWR_REGULATOR_VOLTAGE_SCALE1);
  /** Initializes the RCC Oscillators according to the specified parameters
  * in the RCC_OscInitTypeDef structure.
  */
  RCC_OscInitStruct.OscillatorType = RCC_OSCILLATORTYPE_HSE;
  RCC_OscInitStruct.HSEState = RCC_HSE_ON;
  RCC_OscInitStruct.PLL.PLLState = RCC_PLL_ON;
  RCC_OscInitStruct.PLL.PLLSource = RCC_PLLSOURCE_HSE;
  RCC_OscInitStruct.PLL.PLLM = 4;
  RCC_OscInitStruct.PLL.PLLN = 168;
  RCC_OscInitStruct.PLL.PLLP = RCC_PLLP_DIV2;
  RCC_OscInitStruct.PLL.PLLQ = 4;
  if (HAL_RCC_OscConfig(&RCC_OscInitStruct) != HAL_OK)
  {
    Error_Handler();
  }
  /** Initializes the CPU, AHB and APB buses clocks
  */
  RCC_ClkInitStruct.ClockType = RCC_CLOCKTYPE_HCLK|RCC_CLOCKTYPE_SYSCLK
                              |RCC_CLOCKTYPE_PCLK1|RCC_CLOCKTYPE_PCLK2;
  RCC_ClkInitStruct.SYSCLKSource = RCC_SYSCLKSOURCE_PLLCLK;
  RCC_ClkInitStruct.AHBCLKDivider = RCC_SYSCLK_DIV1;
  RCC_ClkInitStruct.APB1CLKDivider = RCC_HCLK_DIV4;
  RCC_ClkInitStruct.APB2CLKDivider = RCC_HCLK_DIV2;

  if (HAL_RCC_ClockConfig(&RCC_ClkInitStruct, FLASH_LATENCY_5) != HAL_OK)
  {
    Error_Handler();
  }
}

static void MX_TIM3_Init(void)
{

  TIM_ClockConfigTypeDef sClockSourceConfig = {0};
  TIM_MasterConfigTypeDef sMasterConfig = {0};
  TIM_OC_InitTypeDef sConfigOC = {0};

  htim3.Instance = TIM3;
  htim3.Init.Prescaler = T3_PRE;
  htim3.Init.CounterMode = TIM_COUNTERMODE_UP;
  htim3.Init.Period = T3_CNT;
  htim3.Init.ClockDivision = TIM_CLOCKDIVISION_DIV1;
  htim3.Init.AutoReloadPreload = TIM_AUTORELOAD_PRELOAD_ENABLE;
  if (HAL_TIM_Base_Init(&htim3) != HAL_OK)
  {
    Error_Handler();
  }
  sClockSourceConfig.ClockSource = TIM_CLOCKSOURCE_INTERNAL;
  if (HAL_TIM_ConfigClockSource(&htim3, &sClockSourceConfig) != HAL_OK)
  {
    Error_Handler();
  }
  if (HAL_TIM_PWM_Init(&htim3) != HAL_OK)
  {
    Error_Handler();
  }
  sMasterConfig.MasterOutputTrigger = TIM_TRGO_UPDATE;
  sMasterConfig.MasterSlaveMode = TIM_MASTERSLAVEMODE_DISABLE;
  if (HAL_TIMEx_MasterConfigSynchronization(&htim3, &sMasterConfig) != HAL_OK)
  {
    Error_Handler();
  }
  sConfigOC.OCMode = TIM_OCMODE_PWM1;
  sConfigOC.Pulse = 0;
  sConfigOC.OCPolarity = TIM_OCPOLARITY_HIGH;
  sConfigOC.OCFastMode = TIM_OCFAST_ENABLE;
  if (HAL_TIM_PWM_ConfigChannel(&htim3, &sConfigOC, TIM_CHANNEL_1) != HAL_OK)
  {
    Error_Handler();
  }
  HAL_TIM_MspPostInit(&htim3);

}

static void MX_TIM4_Init(void)
{

  TIM_ClockConfigTypeDef sClockSourceConfig = {0};
  TIM_MasterConfigTypeDef sMasterConfig = {0};

  htim4.Instance = TIM4;
  htim4.Init.Prescaler = T4_PRE;
  htim4.Init.CounterMode = TIM_COUNTERMODE_UP;
  htim4.Init.Period = T4_CNT;
  htim4.Init.ClockDivision = TIM_CLOCKDIVISION_DIV1;
  htim4.Init.AutoReloadPreload = TIM_AUTORELOAD_PRELOAD_ENABLE;
  if (HAL_TIM_Base_Init(&htim4) != HAL_OK)
  {
    Error_Handler();
  }
  sClockSourceConfig.ClockSource = TIM_CLOCKSOURCE_INTERNAL;
  if (HAL_TIM_ConfigClockSource(&htim4, &sClockSourceConfig) != HAL_OK)
  {
    Error_Handler();
  }
  sMasterConfig.MasterOutputTrigger = TIM_TRGO_UPDATE;
  sMasterConfig.MasterSlaveMode = TIM_MASTERSLAVEMODE_DISABLE;
  if (HAL_TIMEx_MasterConfigSynchronization(&htim4, &sMasterConfig) != HAL_OK)
  {
    Error_Handler();
  }

}

static void MX_DMA_Init(void)
{

  /* DMA controller clock enable */
  __HAL_RCC_DMA1_CLK_ENABLE();

  /* DMA interrupt init */
  /* DMA1_Stream4_IRQn interrupt configuration */
  HAL_NVIC_SetPriority(DMA1_Stream4_IRQn, 0, 0);
  HAL_NVIC_EnableIRQ(DMA1_Stream4_IRQn);

}

static void MX_GPIO_Init(void)
{
  GPIO_InitTypeDef GPIO_InitStruct = {0};

  /* GPIO Ports Clock Enable */
  __HAL_RCC_GPIOC_CLK_ENABLE();
  __HAL_RCC_GPIOH_CLK_ENABLE();
  __HAL_RCC_GPIOA_CLK_ENABLE();
  __HAL_RCC_GPIOB_CLK_ENABLE();

  /*Configure GPIO pin Output Level */
  HAL_GPIO_WritePin(GPIOC, GPIO_PIN_13, GPIO_PIN_SET);

  /*Configure GPIO pin Output Level */
  HAL_GPIO_WritePin(GPIOC, GPIO_PIN_0|GPIO_PIN_1, GPIO_PIN_RESET);

  /*Configure GPIO pins : PC13 PC0 PC1 */
  GPIO_InitStruct.Pin = GPIO_PIN_13|GPIO_PIN_0|GPIO_PIN_1;
  GPIO_InitStruct.Mode = GPIO_MODE_OUTPUT_PP;
  GPIO_InitStruct.Pull = GPIO_NOPULL;
  GPIO_InitStruct.Speed = GPIO_SPEED_FREQ_LOW;
  HAL_GPIO_Init(GPIOC, &GPIO_InitStruct);

}

void Error_Handler(void)
{
}

/************************ (C) COPYRIGHT STMicroelectronics *****END OF FILE****/
